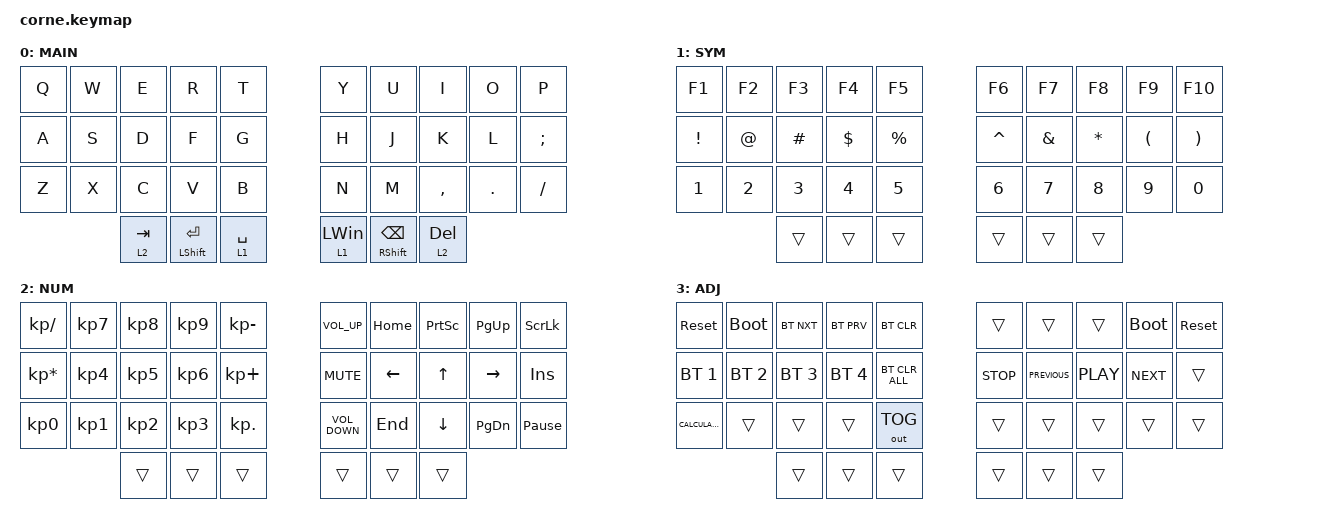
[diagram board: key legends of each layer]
/*
 * Copyright (c) 2020 The ZMK Contributors
 *
 * SPDX-License-Identifier: MIT
 */

#include <behaviors.dtsi>
#include <dt-bindings/zmk/bt.h>
#include <dt-bindings/zmk/keys.h>

&lt { quick-tap-ms = <200>; };

&mt { quick-tap-ms = <200>; };

/ {
    conditional_layers {
        compatible = "zmk,conditional-layers";

        adjust {
            if-layers = <1 2>;
            then-layer = <3>;
        };
    };

    combos {
        compatible = "zmk,combos";

        Language {
            bindings = <&kp LS(LALT)>;
            key-positions = <41 40>;
            require-prior-idle-ms = <60>;
        };

        Tab {
            bindings = <&kp TAB>;
            key-positions = <36 37>;
        };

        Ctrl {
            bindings = <&kp RCTRL>;
            key-positions = <34 22>;
            require-prior-idle-ms = <60>;
        };

        Alt {
            bindings = <&kp RALT>;
            key-positions = <33 21>;
            require-prior-idle-ms = <60>;
        };

        Win {
            bindings = <&kp RIGHT_WIN>;
            key-positions = <32 20>;
            require-prior-idle-ms = <60>;
        };
    };

    keymap {
        compatible = "zmk,keymap";

        default_layer {
            label = "MAIN";

            // -----------------------------------------------------------------------------------------
            // |  Q  |  W  |  E  |  R  |  T  |   |  Y  |  U   |  I  |  O  |  P  |
            // |  A  |  S  |  D  |  F  |  G  |   |  H  |  J   |  K  |  L  |  ;  |
            // |  Z  |  X  |  C  |  V  |  B  |   |  N  |  M   |  ,  |  .  |  /  |
            //             | GUI | LWR | SPC |   | ENT | RSE  | ALT |

            bindings = <
&kp Q  &kp W  &kp E      &kp R                 &kp T          &kp Y           &kp U                      &kp I      &kp O    &kp P     
&kp A  &kp S  &kp D      &kp F                 &kp G          &kp H           &kp J                      &kp K      &kp L    &kp SEMI  
&kp Z  &kp X  &kp C      &kp V                 &kp B          &kp N           &kp M                      &kp COMMA  &kp DOT  &kp FSLH  
             &lt 2 TAB   &mt LEFT_SHIFT ENTER  &lt 1 SPACE    &lt 1 LEFT_WIN  &mt RIGHT_SHIFT BACKSPACE  &lt 2 DEL
            >;
        };

        lower_layer {
            label = "SYM";

            // -----------------------------------------------------------------------------------------
            // |  1  |  2  |  3  |  4  |  5  |   |  6  |  7  |  8  |  9  |  0  |
            // | BT1 | BT2 | BT3 | BT4 | BT5 |   | LFT | DWN |  UP | RGT |     |
            // |     |     |     |     |     |   |     |     |     |     |     |
            //             | GUI |     | SPC |   | ENT |     | ALT |

            bindings = <
&kp F1           &kp F2        &kp F3        &kp F4        &kp F5         &kp F6        &kp F7         &kp F8        &kp F9                &kp F10                
&kp EXCLAMATION  &kp AT_SIGN   &kp HASH      &kp DOLLAR    &kp PERCENT    &kp CARET     &kp AMPERSAND  &kp ASTERISK  &kp LEFT_PARENTHESIS  &kp RIGHT_PARENTHESIS  
&kp NUMBER_1     &kp NUMBER_2  &kp NUMBER_3  &kp NUMBER_4  &kp N5         &kp NUMBER_6  &kp N7         &kp N8        &kp N9                &kp N0                
                               &trans        &trans        &trans         &trans        &trans         &trans
            >;
        };

        raise_layer {
            label = "NUM";

            // -----------------------------------------------------------------------------------------
            // |  !  |  @  |  #  |  $  |  %  |   |  ^  |  &  |  *  |  (  |  )  |
            // |     |     |     |     |     |   |  -  |  =  |  [  |  ]  |  \  |
            // |     |     |     |     |     |   |  _  |  +  |  {  |  }  | "|" |
            //             | GUI |     | SPC |   | ENT |     | ALT |

            bindings = <
&kp KP_SLASH     &kp KP_N7  &kp KP_N8  &kp KP_N9  &kp KP_MINUS    &kp C_VOLUME_UP    &kp HOME  &kp PRINTSCREEN  &kp PG_UP  &kp SCROLLLOCK   
&kp KP_MULTIPLY  &kp KP_N4  &kp KP_N5  &kp KP_N6  &kp KP_PLUS     &kp C_MUTE         &kp LEFT  &kp UP           &kp RIGHT  &kp INS          
&kp KP_N0        &kp KP_N1  &kp KP_N2  &kp KP_N3  &kp KP_DOT      &kp C_VOLUME_DOWN  &kp END   &kp DOWN         &kp PG_DN  &kp PAUSE_BREAK  
                            &trans     &trans     &trans          &trans             &trans    &trans
            >;
        };

        adjust_layer {
            label = "ADJ";
            bindings = <
&sys_reset            &bootloader       &bt BT_NXT    &bt BT_PRV    &bt BT_CLR        &trans      &trans        &trans          &bootloader   &sys_reset
&bt BT_SEL 1      &bt BT_SEL 2  &bt BT_SEL 3  &bt BT_SEL 4  &bt BT_CLR_ALL    &kp K_STOP  &kp C_PREVIOUS  &kp C_PLAY  &kp C_NEXT  &trans
&kp K_CALCULATOR  &trans        &trans        &trans        &out OUT_TOG      &trans      &trans          &trans      &trans      &trans
                                 &trans        &trans        &trans            &trans      &trans          &trans
            >;
        };
    };
};
